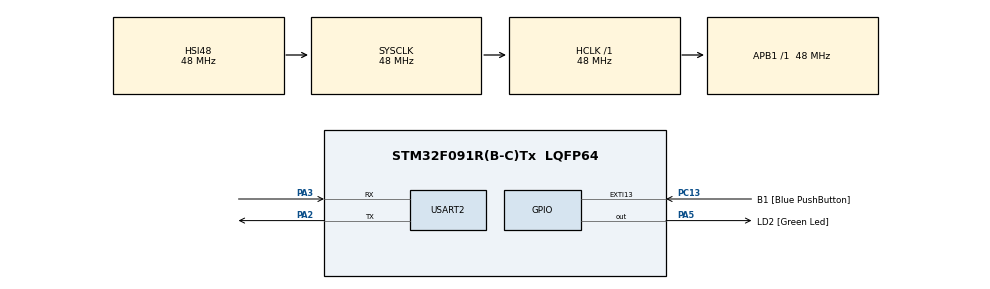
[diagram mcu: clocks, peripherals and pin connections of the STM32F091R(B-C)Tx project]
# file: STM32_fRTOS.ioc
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FREERTOS.Tasks01=defaultTask,0,128,StartDefaultTask,Default,NULL
Mcu.Family=STM32F0
Mcu.Name=STM32F091R(B-C)Tx
Mcu.Package=LQFP64
NVIC.TIM1_BRK_UP_TRG_COM_IRQn=true\:0\:0\:false\:false\:true\:false\:false
NVIC.TimeBase=TIM1_BRK_UP_TRG_COM_IRQn
NVIC.TimeBaseIP=TIM1
PA13.GPIO_Label=TMS
PA13.Signal=SYS_SWDIO
PA14.GPIO_Label=TCK
PA14.Signal=SYS_SWCLK
PA2.Mode=Asynchronous
PA2.Signal=USART2_TX
PA3.Mode=Asynchronous
PA3.Signal=USART2_RX
PA5.GPIO_Label=LD2 [Green Led]
PA5.GPIO_Mode=GPIO_MODE_OUTPUT_PP
PA5.GPIO_PuPd=GPIO_NOPULL
PA5.GPIO_Speed=GPIO_SPEED_FREQ_LOW
PA5.Signal=GPIO_Output
PC13.GPIO_Label=B1 [Blue PushButton]
PC13.GPIO_ModeDefaultEXTI=GPIO_MODE_IT_FALLING
PC13.Signal=GPXTI13
PC14OSC32_IN.Signal=RCC_OSC32_IN
PC15OSC32_OUT.Signal=RCC_OSC32_OUT
PF0-OSC_IN.Signal=RCC_OSC_IN
PF1-OSC_OUT.Signal=RCC_OSC_OUT
ProjectManager.HeapSize=0x200
ProjectManager.StackSize=0x400
ProjectManager.TargetToolchain=SW4STM32
RCC.AHBFreq_Value=48000000
RCC.APB1Freq_Value=48000000
RCC.APB1TimFreq_Value=48000000
RCC.FLatency-AdvancedSettings=FLASH_LATENCY_1
RCC.HCLKFreq_Value=48000000
RCC.PLLDivider=RCC_PREDIV_DIV2
RCC.PLLMUL=RCC_PLL_MUL12
RCC.PREFETCH_ENABLE-AdvancedSettings=1
RCC.SYSCLKFreq_VALUE=48000000
RCC.SYSCLKSource=RCC_SYSCLKSOURCE_HSI48
USART2.VirtualMode-Asynchronous=VM_ASYNC
USART2.WordLength=WORDLENGTH_8B
VP_FREERTOS_VS_ENABLE.Mode=Enabled
VP_SYS_VS_tim1.Mode=TIM1
board=NUCLEO-F091RC

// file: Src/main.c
/**
  ******************************************************************************
  * File Name          : main.c
  * Description        : Main program body
  ******************************************************************************
  * This notice applies to any and all portions of this file
  * that are not between comment pairs USER CODE BEGIN and
  * USER CODE END. Other portions of this file, whether
  * inserted by the user or by software development tools
  * are owned by their respective copyright owners.
  *
  * Copyright (c) 2018 STMicroelectronics International N.V.
  * All rights reserved.
  *
  * Redistribution and use in source and binary forms, with or without
  * modification, are permitted, provided that the following conditions are met:
  *
  * 1. Redistribution of source code must retain the above copyright notice,
  *    this list of conditions and the following disclaimer.
  * 2. Redistributions in binary form must reproduce the above copyright notice,
  *    this list of conditions and the following disclaimer in the documentation
  *    and/or other materials provided with the distribution.
  * 3. Neither the name of STMicroelectronics nor the names of other
  *    contributors to this software may be used to endorse or promote products
  *    derived from this software without specific written permission.
  * 4. This software, including modifications and/or derivative works of this
  *    software, must execute solely and exclusively on microcontroller or
  *    microprocessor devices manufactured by or for STMicroelectronics.
  * 5. Redistribution and use of this software other than as permitted under
  *    this license is void and will automatically terminate your rights under
  *    this license.
  *
  * THIS SOFTWARE IS PROVIDED BY STMICROELECTRONICS AND CONTRIBUTORS "AS IS"
  * AND ANY EXPRESS, IMPLIED OR STATUTORY WARRANTIES, INCLUDING, BUT NOT
  * LIMITED TO, THE IMPLIED WARRANTIES OF MERCHANTABILITY, FITNESS FOR A
  * PARTICULAR PURPOSE AND NON-INFRINGEMENT OF THIRD PARTY INTELLECTUAL PROPERTY
  * RIGHTS ARE DISCLAIMED TO THE FULLEST EXTENT PERMITTED BY LAW. IN NO EVENT
  * SHALL STMICROELECTRONICS OR CONTRIBUTORS BE LIABLE FOR ANY DIRECT, INDIRECT,
  * INCIDENTAL, SPECIAL, EXEMPLARY, OR CONSEQUENTIAL DAMAGES (INCLUDING, BUT NOT
  * LIMITED TO, PROCUREMENT OF SUBSTITUTE GOODS OR SERVICES; LOSS OF USE, DATA,
  * OR PROFITS; OR BUSINESS INTERRUPTION) HOWEVER CAUSED AND ON ANY THEORY OF
  * LIABILITY, WHETHER IN CONTRACT, STRICT LIABILITY, OR TORT (INCLUDING
  * NEGLIGENCE OR OTHERWISE) ARISING IN ANY WAY OUT OF THE USE OF THIS SOFTWARE,
  * EVEN IF ADVISED OF THE POSSIBILITY OF SUCH DAMAGE.
  *
  ******************************************************************************
  */

#include "main.h"
#include "stm32f0xx_hal.h"
#include "cmsis_os.h"

UART_HandleTypeDef huart2;

osThreadId defaultTaskHandle;

/* USER CODE BEGIN PV */
/* Private variables ---------------------------------------------------------*/

/* USER CODE END PV */

void SystemClock_Config(void);
static void MX_GPIO_Init(void);
static void MX_USART2_UART_Init(void);
void StartDefaultTask(void const * argument);

/* USER CODE BEGIN PFP */
/* Private function prototypes -----------------------------------------------*/

/* USER CODE END PFP */

int main(void)
{

  /* USER CODE BEGIN 1 */
	char test_text = "Hello world from David /n/r";
  /* USER CODE END 1 */

  /* MCU Configuration----------------------------------------------------------*/

  /* Reset of all peripherals, Initializes the Flash interface and the Systick. */
  HAL_Init();

  /* Configure the system clock */
  SystemClock_Config();

  /* Initialize all configured peripherals */
  MX_GPIO_Init();
  MX_USART2_UART_Init();
  /*HAL_HalfDuplex_Init() ; */

  /* Create the thread(s) */
  /* definition and creation of defaultTask */
  osThreadDef(defaultTask, StartDefaultTask, osPriorityNormal, 0, 128);
  defaultTaskHandle = osThreadCreate(osThread(defaultTask), NULL);

  /* Start scheduler */
  osKernelStart();

  /* We should never get here as control is now taken by the scheduler */

  /* Infinite loop */
  /* USER CODE BEGIN WHILE */
  while (1)
  {
	  /*snprintf(msg, ">>>%d", n); */
	  // HAL_GPIO_TogglePin(LED2_GPIO_PORT,LED_GREEN);
	  HAL_GPIO_TogglePin(LD2_GPIO_Port, LD2_Pin); // Toggle the state of LED2
	  HAL_GPIO_TogglePin(GPIOC,GPIO_PIN_9);
	  HAL_Delay(400); //delay 100ms
	  HAL_UART_Transmit(&huart2,test_text,20,1000);
  /* USER CODE END WHILE */

  }

}

/** System Clock Configuration
*/
void SystemClock_Config(void)
{

  RCC_OscInitTypeDef RCC_OscInitStruct;
  RCC_ClkInitTypeDef RCC_ClkInitStruct;
  RCC_PeriphCLKInitTypeDef PeriphClkInit;

    /**Initializes the CPU, AHB and APB busses clocks
    */
  RCC_OscInitStruct.OscillatorType = RCC_OSCILLATORTYPE_HSI48;
  RCC_OscInitStruct.HSI48State = RCC_HSI48_ON;
  RCC_OscInitStruct.PLL.PLLState = RCC_PLL_NONE;
  if (HAL_RCC_OscConfig(&RCC_OscInitStruct) != HAL_OK)
  {
    _Error_Handler(__FILE__, __LINE__);
  }

    /**Initializes the CPU, AHB and APB busses clocks
    */
  RCC_ClkInitStruct.ClockType = RCC_CLOCKTYPE_HCLK|RCC_CLOCKTYPE_SYSCLK
                              |RCC_CLOCKTYPE_PCLK1;
  RCC_ClkInitStruct.SYSCLKSource = RCC_SYSCLKSOURCE_HSI48;
  RCC_ClkInitStruct.AHBCLKDivider = RCC_SYSCLK_DIV1;
  RCC_ClkInitStruct.APB1CLKDivider = RCC_HCLK_DIV1;

  if (HAL_RCC_ClockConfig(&RCC_ClkInitStruct, FLASH_LATENCY_1) != HAL_OK)
  {
    _Error_Handler(__FILE__, __LINE__);
  }

  PeriphClkInit.PeriphClockSelection = RCC_PERIPHCLK_USART2;
  PeriphClkInit.Usart2ClockSelection = RCC_USART2CLKSOURCE_PCLK1;
  if (HAL_RCCEx_PeriphCLKConfig(&PeriphClkInit) != HAL_OK)
  {
    _Error_Handler(__FILE__, __LINE__);
  }

    /**Configure the Systick interrupt time
    */
  HAL_SYSTICK_Config(HAL_RCC_GetHCLKFreq()/1000);

    /**Configure the Systick
    */
  HAL_SYSTICK_CLKSourceConfig(SYSTICK_CLKSOURCE_HCLK);

  /* SysTick_IRQn interrupt configuration */
  HAL_NVIC_SetPriority(SysTick_IRQn, 3, 0);
}

/* USART2 init function */
static void MX_USART2_UART_Init(void)
{

  huart2.Instance = USART2;
  huart2.Init.BaudRate = 115200;
  huart2.Init.WordLength = UART_WORDLENGTH_8B;
  huart2.Init.StopBits = UART_STOPBITS_1;
  huart2.Init.Parity = UART_PARITY_NONE;
  huart2.Init.Mode = UART_MODE_TX_RX;
  huart2.Init.HwFlowCtl = UART_HWCONTROL_NONE;
  huart2.Init.OverSampling = UART_OVERSAMPLING_16;
  huart2.Init.OneBitSampling = UART_ONE_BIT_SAMPLE_DISABLE;
  huart2.AdvancedInit.AdvFeatureInit = UART_ADVFEATURE_NO_INIT;
  if (HAL_UART_Init(&huart2) != HAL_OK)
  {
    _Error_Handler(__FILE__, __LINE__);
  }

}

/** Configure pins as
        * Analog
        * Input
        * Output
        * EVENT_OUT
        * EXTI
*/
static void MX_GPIO_Init(void)
{

  GPIO_InitTypeDef GPIO_InitStruct;

  /* GPIO Ports Clock Enable */
  __HAL_RCC_GPIOC_CLK_ENABLE();
  __HAL_RCC_GPIOF_CLK_ENABLE();
  __HAL_RCC_GPIOA_CLK_ENABLE();

  /*Configure GPIO pin Output Level */
  HAL_GPIO_WritePin(LD2_GPIO_Port, LD2_Pin, GPIO_PIN_RESET);

  /*Configure GPIO pin : B1_Pin */
  GPIO_InitStruct.Pin = B1_Pin;
  GPIO_InitStruct.Mode = GPIO_MODE_IT_FALLING;
  GPIO_InitStruct.Pull = GPIO_NOPULL;
  HAL_GPIO_Init(B1_GPIO_Port, &GPIO_InitStruct);

  /*Configure GPIO pin : LD2_Pin */
  GPIO_InitStruct.Pin = LD2_Pin;
  GPIO_InitStruct.Mode = GPIO_MODE_OUTPUT_PP;
  GPIO_InitStruct.Pull = GPIO_NOPULL;
  GPIO_InitStruct.Speed = GPIO_SPEED_FREQ_LOW;
  HAL_GPIO_Init(LD2_GPIO_Port, &GPIO_InitStruct);

}

/* USER CODE BEGIN 4 */
void vTask1( void *pvParameters )
{
	const char *pcTaskName = "Task 1 is running\r\n";
	volatile uint32_t ul; /* volatile to ensure ul is not optimized away. */
	/* As per most tasks, this task is implemented in an infinite loop. */
	for( ;; )
	{
		/* Print out the name of this task. */
		vPrintString( pcTaskName );
		/* Delay for a period. */
		for( ul = 0 ; ul < 20 ; ul++ ) /* mainDELAY_LOOP_COUNT did not work */
		{
			/* This loop is just a very crude delay implementation. There is
	nothing to do in here. Later examples will replace this crude
	loop with a proper delay/sleep function. */
		}
	}
}

void vTask2( void *pvParameters )
{
	const char *pcTaskName = "Task 2 is running\r\n";
	volatile uint32_t ul; /* volatile to ensure ul is not optimized away. */
	/* As per most tasks, this task is implemented in an infinite loop. */
	for( ;; )
	{
		/* Print out the name of this task. */
		vPrintString( pcTaskName );
		/* Delay for a period. */
		for( ul = 0; ul < 20; ul++ )
		{
			/* This loop is just a very crude delay implementation. There is
			nothing to do in here. Later examples will replace this crude
			loop with a proper delay/sleep function. */
		}
	}
}

/* USER CODE END 4 */

/* StartDefaultTask function */
void StartDefaultTask(void const * argument)
{

  for(;;)
  {
    osDelay(1);
  }
}

void HAL_TIM_PeriodElapsedCallback(TIM_HandleTypeDef *htim)
{
  if (htim->Instance == TIM1) {
    HAL_IncTick();
  }
}

void _Error_Handler(char * file, int line)
{
  while(1)
  {
  }
}

/************************ (C) COPYRIGHT STMicroelectronics *****END OF FILE****/
